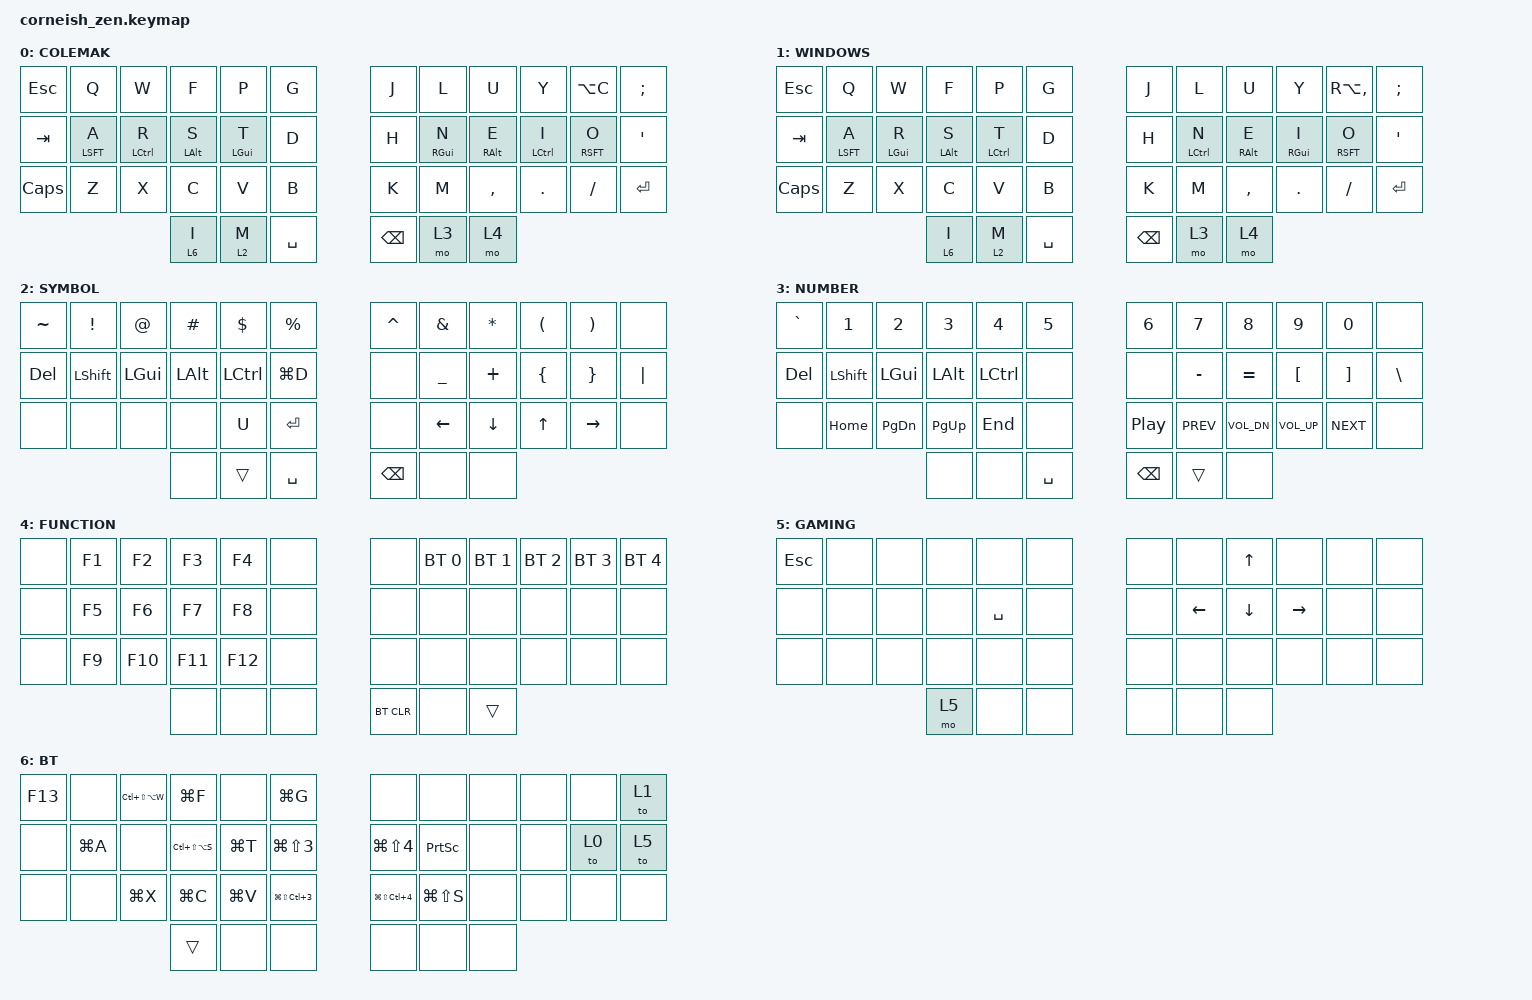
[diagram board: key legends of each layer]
#include <behaviors.dtsi>
#include <dt-bindings/zmk/keys.h>
#include <dt-bindings/zmk/bt.h>

#define PRINT_1    LG(LS(N3))
#define PRINT_2    LG(LS(N4))
#define PRINT_3    LG(LS(LC(N3)))
#define PRINT_4    LG(LS(LC(N4)))
#define EXP_AS     LC(LS(LA(W)))
#define EXP_WEB    LC(LS(LA(S)))
#define BRCCED     LA(C)
#define WINCCED    RA(COMMA)
#define GROUP      LG(G)
#define TSFM       LG(T)
#define SELALL     LG(A)
#define PINP       LG(F)
#define DESEL      LG(D)
#define WIN_SNP    LG(LS(S))

/ {
  chosen {
    zmk,matrix_transform = &default_transform;
    //zmk,matrix_transform = &five_column_transform;
  };
};


/ {
    behaviors {
        hm: homerow_mods {
            compatible = "zmk,behavior-hold-tap";
            label = "HOMEROW_MODS";
            #binding-cells = <2>;
            tapping-term-ms = <220>;
            quick-tap-ms = <0>;
            flavor = "tap-preferred";
            bindings = <&kp>, <&kp>;
        };
    };
};


/ {
        keymap {
                compatible = "zmk,keymap";

                default_layer {
                        label = "COLEMAK";
                        bindings = <

   &kp ESC          &kp Q              &kp W              &kp F              &kp P              &kp G                 &kp J          &kp L              &kp U              &kp Y              &kp BRCCED            &kp SEMI
   &kp TAB          &hm LSFT A         &hm LCTL R         &hm LALT S         &hm LGUI T         &kp D                 &kp H          &hm RGUI N         &hm RALT E         &hm LCTL I         &hm RSFT O            &kp SQT
   &kp CAPS         &kp Z              &kp X              &kp C              &kp V              &kp B                 &kp K          &kp M              &kp COMMA          &kp DOT            &kp FSLH              &kp ENTER
                                                          &lt 6 I            &lt 2 M            &kp SPACE             &kp BSPC       &mo 3              &mo 4
                        >;
                };

                win_layer {
                        label = "WINDOWS";
                        bindings = <

   &kp ESC          &kp Q              &kp W              &kp F              &kp P              &kp G                 &kp J          &kp L              &kp U              &kp Y              &kp WINCCED           &kp SEMI
   &kp TAB          &hm LSFT A         &hm LGUI R         &hm LALT S         &hm LCTL T         &kp D                 &kp H          &hm LCTL N         &hm RALT E         &hm RGUI I         &hm RSFT O            &kp SQT
   &kp CAPS         &kp Z              &kp X              &kp C              &kp V              &kp B                 &kp K          &kp M              &kp COMMA          &kp DOT            &kp FSLH              &kp ENTER
                                                          &lt 6 I            &lt 2 M            &kp SPACE             &kp BSPC       &mo 3              &mo 4
                        >;
                };

                lower_layer {
                        label = "SYMBOL";
                        bindings = <

   &kp TILDE        &kp EXCL       &kp AT         &kp HASH       &kp DLLR       &kp PRCNT                             &kp CARET      &kp AMPS       &kp ASTRK      &kp LPAR        &kp RPAR        &none
   &kp DEL          &kp LSHFT      &kp LGUI       &kp LALT       &kp LCTL       &kp DESEL                             &none          &kp UNDER      &kp PLUS       &kp LBRC        &kp RBRC        &kp PIPE
   &none            &none          &none          &none          &kp U          &kp ENTER                             &none          &kp LEFT       &kp DOWN       &kp UP          &kp RIGHT       &none
                                                  &none          &trans         &kp SPACE                             &kp BSPC       &none          &none 
                        >;
                };

                raise_layer {
                        label = "NUMBER";
                        bindings = <

   &kp GRAVE        &kp N1         &kp N2         &kp N3         &kp N4         &kp N5                                &kp N6         &kp N7         &kp N8         &kp N9          &kp N0          &none
   &kp DEL          &kp LSHFT      &kp LGUI       &kp LALT       &kp LCTL       &none                                 &none          &kp MINUS      &kp EQUAL      &kp LBKT        &kp RBKT        &kp BSLH
   &none            &kp HOME       &kp PG_DN      &kp PG_UP      &kp END        &none                                 &kp C_PP       &kp C_PREV     &kp C_VOL_DN   &kp C_VOL_UP    &kp C_NEXT      &none
                                                  &none          &none          &kp SPACE                             &kp BSPC       &trans         &none
                        >;
                };

                fn_layer {
                        label = "FUNCTION";
                        bindings = <

   &none            &kp F1         &kp F2         &kp F3         &kp F4         &none                                 &none          &bt BT_SEL 0   &bt BT_SEL 1   &bt BT_SEL 2    &bt BT_SEL 3   &bt BT_SEL 4
   &none            &kp F5         &kp F6         &kp F7         &kp F8         &none                                 &none          &none          &none          &none           &none           &none
   &none            &kp F9         &kp F10        &kp F11        &kp F12        &none                                 &none          &none          &none          &none           &none           &none
                                                  &none          &none          &none                                 &bt BT_CLR     &none          &trans  
                        >;
                };

                gaming_layer {
                        label = "GAMING";
                        bindings = <

   &kp ESC          &none          &none          &none          &none          &none                                 &none          &none          &kp UP         &none           &none           &none
   &none            &none          &none          &none          &kp SPACE      &none                                 &none          &kp LEFT       &kp DOWN       &kp RIGHT       &none           &none
   &none            &none          &none          &none          &none          &none                                 &none          &none          &none          &none           &none           &none
                                                  &mo 5          &none          &none                                 &none          &none          &none  
                        >;
                };

                macro_layer {
                        label = "BT";
                        bindings = <

   &kp F13          &none          &kp EXP_AS     &kp PINP       &none          &kp GROUP                             &none          &none                &none           &none        &none          &to 1
   &none            &kp SELALL     &none          &kp EXP_WEB    &kp TSFM       &kp PRINT_1                           &kp PRINT_2    &kp PRINTSCREEN      &none           &none        &to 0          &to 5
   &none            &none          &kp LG(X)      &kp LG(C)      &kp LG(V)      &kp PRINT_3                           &kp PRINT_4    &kp WIN_SNP          &none           &none        &none          &none
                                                  &trans         &none          &none                                 &none          &none                &none
                        >;
                 };
            };
};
